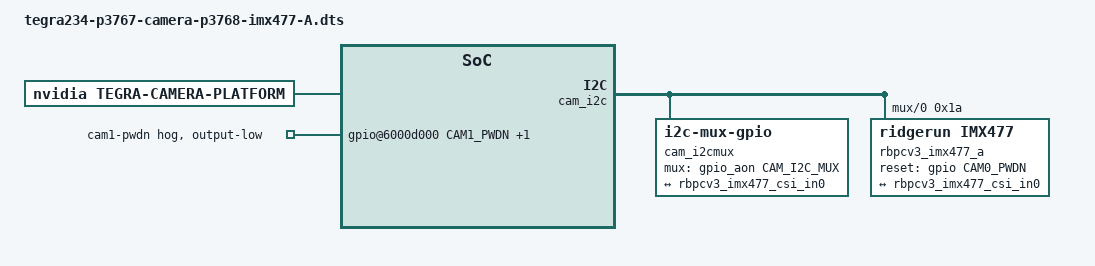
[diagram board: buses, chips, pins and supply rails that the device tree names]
// SPDX-License-Identifier: GPL-2.0-only
// SPDX-FileCopyrightText: Copyright (c) 2023-2024, NVIDIA CORPORATION & AFFILIATES. All rights reserved.

/dts-v1/;
/plugin/;

#define CAM0_PWDN	TEGRA234_MAIN_GPIO(H, 6)
#define CAM1_PWDN	TEGRA234_MAIN_GPIO(AC, 0)
#define CAM_I2C_MUX 	TEGRA234_AON_GPIO(CC, 3)

#include <dt-bindings/tegra234-p3767-0000-common.h>

/ {
	overlay-name = "Camera IMX477-A";
	jetson-header-name = "Jetson 24pin CSI Connector";
	compatible = JETSON_COMPATIBLE_P3768;
	/* IMX477 connected to cam1 port */

	fragment@0 {
		target-path = "/";
		__overlay__ {
			tegra-capture-vi  {
				num-channels = <1>;
				ports {
					#address-cells = <1>;
					#size-cells = <0>;
					port@0 {
						reg = <0>;
						rbpcv3_imx477_vi_in0: endpoint {
							port-index = <1>;
							bus-width = <2>;
							remote-endpoint = <&rbpcv3_imx477_csi_out0>;
						};
					};
				};
			};
			tegra-camera-platform {
				compatible = "nvidia, tegra-camera-platform";
				/**
				 * The general guideline for naming badge_info contains 3 parts, and is as follows,
				 * The first part is the camera_board_id for the module; if the module is in a FFD
				 * platform, then use the platform name for this part.
				 * The second part contains the position of the module, ex. "rear" or "front".
				 * The third part contains the last 6 characters of a part number which is found
				 * in the module's specsheet from the vendor.
				 */
				modules {
					module0 {
						badge = "jakku_front_RBPCV3";
						position = "front";
						orientation = "1";
						drivernode0 {
							pcl_id = "v4l2_sensor";
							sysfs-device-tree = "/sys/firmware/devicetree/base/bus@0/cam_i2cmux/i2c@0/rbpcv3_imx477_a@1a";
						};
					};
				};
			};
			bus@0 {
				host1x@13e00000 {
					nvcsi@15a00000 {
						num-channels = <1>;
						#address-cells = <1>;
						#size-cells = <0>;
						channel@0 {
							reg = <0>;
							ports {
								#address-cells = <1>;
								#size-cells = <0>;
								port@0 {
									reg = <0>;
									rbpcv3_imx477_csi_in0: endpoint@0 {
										port-index = <1>;
										bus-width = <2>;
										remote-endpoint = <&rbpcv3_imx477_out0>;
									};
								};
								port@1 {
									reg = <1>;
									rbpcv3_imx477_csi_out0: endpoint@1 {
										remote-endpoint = <&rbpcv3_imx477_vi_in0>;
									};
								};
							};
						};
					};
				};
				cam_i2cmux {
					status = "okay";
					compatible = "i2c-mux-gpio";
					#address-cells = <1>;
					#size-cells = <0>;
					mux-gpios = <&gpio_aon CAM_I2C_MUX GPIO_ACTIVE_HIGH>;
					i2c-parent = <&cam_i2c>;
					i2c@0 {
						status = "okay";
						reg = <0>;
						#address-cells = <1>;
						#size-cells = <0>;
						rbpcv2_imx219_a@10 {
							status = "disabled";
						};
						rbpcv3_imx477_a@1a {
							reset-gpios = <&gpio CAM0_PWDN GPIO_ACTIVE_HIGH>;
							compatible = "ridgerun,imx477";
							/* I2C device address */
							reg = <0x1a>;
							/* V4L2 device node location */
							devnode = "video0";
							/* Physical dimensions of sensor */
							physical_w = "3.680";
							physical_h = "2.760";
							sensor_model = "imx477";
							use_sensor_mode_id = "true";
							/**
							* ==== Modes ====
							* A modeX node is required to support v4l2 driver
							* implementation with NVIDIA camera software stack
							*
							* == Signal properties ==
							*
							* phy_mode = "";
							* PHY mode used by the MIPI lanes for this device
							*
							* tegra_sinterface = "";
							* CSI Serial interface connected to tegra
							* Incase of virtual HW devices, use virtual
							* For SW emulated devices, use host
							*
							* pix_clk_hz = "";
							* Sensor pixel clock used for calculations like exposure and framerate
							*
							* readout_orientation = "0";
							* Based on camera module orientation.
							* Only change readout_orientation if you specifically
							* Program a different readout order for this mode
							*
							* lane_polarity
							* Based on the camera connector pin.
							* CSIx_D0 | CSIx_D1 | CSI(X+1)_D0 | CSI(X+1)CSIx_D1
							*    LSB  |   BIT1  |     BIT2    |      MSB
							* if there is a polarity swap on any lane, the bit corrsponding
							* to the lane should be set
							* e.g. polarity swap on CSIx_D0 only -> lane_polarity = "1"; 0001
							* e.g. polarity swap on CSIx_D1 and CSI(X+1)_D0 -> lane_polarity = "6"; 0110
							*
							* == Image format Properties ==
							*
							* active_w = "";
							* Pixel active region width
							*
							* active_h = "";
							* Pixel active region height
							*
							* pixel_t = "";
							* The sensor readout pixel pattern
							*
							* line_length = "";
							* Pixel line length (width) for sensor mode.
							*
							* == Source Control Settings ==
							*
							* Gain factor used to convert fixed point integer to float
							* Gain range [min_gain/gain_factor, max_gain/gain_factor]
							* Gain step [step_gain/gain_factor is the smallest step that can be configured]
							* Default gain [Default gain to be initialized for the control.
							*     use min_gain_val as default for optimal results]
							* Framerate factor used to convert fixed point integer to float
							* Framerate range [min_framerate/framerate_factor, max_framerate/framerate_factor]
							* Framerate step [step_framerate/framerate_factor is the smallest step that can be configured]
							* Default Framerate [Default framerate to be initialized for the control.
							*     use max_framerate to get required performance]
							* Exposure factor used to convert fixed point integer to float
							* For convenience use 1 sec = 1000000us as conversion factor
							* Exposure range [min_exp_time/exposure_factor, max_exp_time/exposure_factor]
							* Exposure step [step_exp_time/exposure_factor is the smallest step that can be configured]
							* Default Exposure Time [Default exposure to be initialized for the control.
							*     Set default exposure based on the default_framerate for optimal exposure settings]
							*
							* gain_factor = ""; (integer factor used for floating to fixed point conversion)
							* min_gain_val = ""; (ceil to integer)
							* max_gain_val = ""; (ceil to integer)
							* step_gain_val = ""; (ceil to integer)
							* default_gain = ""; (ceil to integer)
							* Gain limits for mode
							*
							* exposure_factor = ""; (integer factor used for floating to fixed point conversion)
							* min_exp_time = ""; (ceil to integer)
							* max_exp_time = ""; (ceil to integer)
							* step_exp_time = ""; (ceil to integer)
							* default_exp_time = ""; (ceil to integer)
							* Exposure Time limits for mode (sec)
							*
							* framerate_factor = ""; (integer factor used for floating to fixed point conversion)
							* min_framerate = ""; (ceil to integer)
							* max_framerate = ""; (ceil to integer)
							* step_framerate = ""; (ceil to integer)
							* default_framerate = ""; (ceil to integer)
							* Framerate limits for mode (fps)
							*
							* embedded_metadata_height = "";
							* Sensor embedded metadata height in units of rows.
							* If sensor does not support embedded metadata value should be 0.
							*/
							mode0 { /* IMX477_MODE_3840x2160 */
								mclk_khz = "24000";
								num_lanes = "2";
								tegra_sinterface = "serial_b";
								phy_mode = "DPHY";
								discontinuous_clk = "no";
								dpcm_enable = "false";
								cil_settletime = "0";
								lane_polarity = "6";
								active_w = "3840";
								active_h = "2160";
								mode_type = "bayer";
								pixel_phase = "rggb";
								csi_pixel_bit_depth = "10";
								readout_orientation = "90";
								line_length = "11200";
								inherent_gain = "1";
								mclk_multiplier = "80";
								pix_clk_hz = "300000000";
								gain_factor = "16";
								framerate_factor = "1000000";
								exposure_factor = "1000000";
								min_gain_val = "16"; /* 1.00x */
								max_gain_val = "356"; /* 22x */
								step_gain_val = "1";
								default_gain = "16"; /* 1.00x */
								min_hdr_ratio = "1";
								max_hdr_ratio = "1";
								min_framerate = "2000000"; /* 2.0 fps */
								max_framerate = "30000000"; /* 30.0 fps */
								step_framerate = "1";
								default_framerate = "30000000"; /* 30.0 fps */
								min_exp_time = "13"; /* us */
								max_exp_time = "683709"; /* us */
								step_exp_time = "1";
								default_exp_time = "2495"; /* us */
								embedded_metadata_height = "2";
							};
							mode1 { /* IMX477_MODE_1920X1080 */
								mclk_khz = "24000";
								num_lanes = "2";
								tegra_sinterface = "serial_b";
								phy_mode = "DPHY";
								discontinuous_clk = "no";
								dpcm_enable = "false";
								cil_settletime = "0";
								lane_polarity = "6";
								active_w = "1920";
								active_h = "1080";
								mode_type = "bayer";
								pixel_phase = "rggb";
								csi_pixel_bit_depth = "10";
								readout_orientation = "90";
								line_length = "7000";
								inherent_gain = "1";
								mclk_multiplier = "80";
								pix_clk_hz = "300000000";
								gain_factor = "16";
								framerate_factor = "1000000";
								exposure_factor = "1000000";
								min_gain_val = "16"; /* 1.00x */
								max_gain_val = "356"; /* 22x */
								step_gain_val = "1";
								default_gain = "16"; /* 1.00x */
								min_hdr_ratio = "1";
								max_hdr_ratio = "1";
								min_framerate = "2000000"; /* 2.0 fps */
								max_framerate = "60000000"; /* 60.0 fps */
								step_framerate = "1";
								default_framerate = "60000000"; /* 60.0 fps */
								min_exp_time = "13"; /* us */
								max_exp_time = "683709"; /* us */
								step_exp_time = "1";
								default_exp_time = "2495"; /* us */
								embedded_metadata_height = "2";
							};
							ports {
								#address-cells = <1>;
								#size-cells = <0>;
								port@0 {
									reg = <0>;
									rbpcv3_imx477_out0: endpoint {
										port-index = <1>;
										bus-width = <2>;
										remote-endpoint = <&rbpcv3_imx477_csi_in0>;
									};
								};
							};
						};
					};
					i2c@1 {
						rbpcv2_imx219_c@10 {
							status = "disabled";
						};
					};
				};
				gpio@6000d000 {
					camera-control-output-low {
						gpio-hog;
						output-low;
						gpios = <CAM1_PWDN 0  CAM0_PWDN 0>;
						label = "cam1-pwdn", "cam0-pwdn";
					};
				};
			};
		};
	};
};
